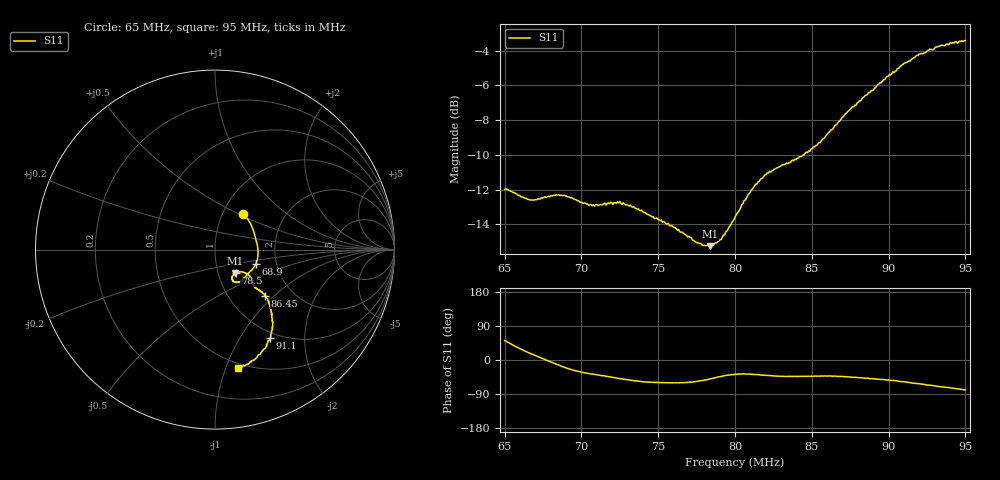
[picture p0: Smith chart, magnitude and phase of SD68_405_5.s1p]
! NanoVNA-App
! Date: 2025-08-02 16:43:21
! Start: 65MHz Stop: 95MHz Points: 401
! S-Parameter data: F S11
# Hz S RI R 50
!  Frequency  S11_Real  S11_Imag
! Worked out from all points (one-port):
!   401 points, 65 MHz to 95 MHz, reference 50 ohm
!   lowest |S11| = -15.3 dB at 78.35 MHz (marker M1), VSWR 1.42, Z = 60 - j16.4 ohm
!   |S11| at or under -10 dB: start of sweep to 84.49 MHz
!   S11 on the Smith chart (normalised r, x): 65 MHz: 1.25, +0.52; 68.9 MHz: 1.56, -0.27; 78.5 MHz: 1.21, -0.33; 86.45 MHz: 1.47, -0.88; 91.1 MHz: 0.92, -1.37; 95 MHz: 0.45, -1.10
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6.5e7  0.1574 0.1959
6.575e7  0.2 0.1398
6.65e7  0.2207 0.0819
6.77e7  0.2382 -0.000555
6.875e7  0.2307 -0.0712
6.89e7  0.228 -0.0807
6.965e7  0.2056 -0.1136
7.07e7  0.18 -0.1362
7.25e7  0.1514 -0.176
7.4225e7  0.1137 -0.1812
7.625e7  0.0952 -0.1665
7.7525e7  0.0982 -0.1464
7.835e7  0.1108 -0.1324
7.85e7  0.1148 -0.1315
7.9175e7  0.135 -0.124
8e7  0.1652 -0.128
8.0975e7  0.1964 -0.1487
8.18e7  0.2073 -0.1748
8.375e7  0.2212 -0.2104
8.4875e7  0.2365 -0.221
8.645e7  0.2803 -0.2563
8.75e7  0.3017 -0.3041
8.975e7  0.3209 -0.4093
9.11e7  0.3078 -0.493
9.125e7  0.3026 -0.5
9.2075e7  0.2779 -0.5508
9.32e7  0.2275 -0.6061
9.5e7  0.1267 -0.6624
